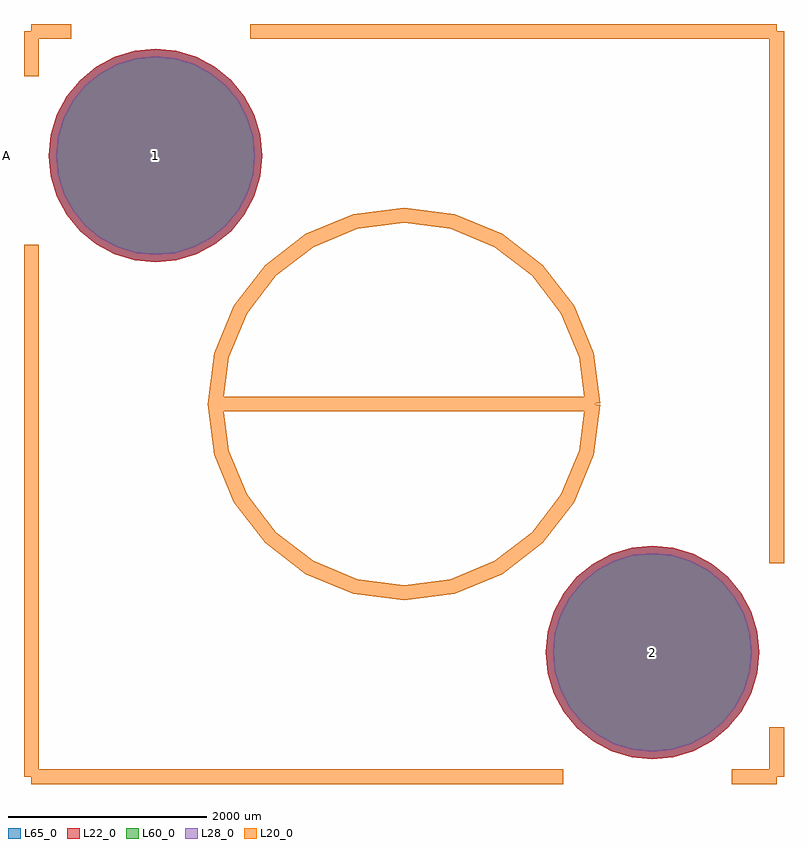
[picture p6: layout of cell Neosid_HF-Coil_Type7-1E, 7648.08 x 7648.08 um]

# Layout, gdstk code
import gdstk
lib = gdstk.Library(unit=1e-6, precision=1e-09)
def P(c, l, *ps):  # polygons
    for p in ps: c.add(gdstk.Polygon(p, *l))
L20_0 = (20, 0)
L22_0 = (22, 0)
L28_0 = (28, 0)
L60_0 = (60, 0)
L65_0 = (65, 0)

neosid_hf_coil_type7_1e = lib.new_cell('Neosid_HF-Coil_Type7-1E')
P(neosid_hf_coil_type7_1e, L22_0, [(3573.85,-2499.36),(3553.204,-2289.737),(3492.059,-2088.17),(3392.766,-1902.405),(3259.139,-1739.581),(3096.315,-1605.954),(2910.55,-1506.661),(2708.983,-1445.516),(2499.36,-1424.87),(2289.737,-1445.516),(2088.17,-1506.661),(1902.405,-1605.954),(1739.581,-1739.581),(1605.954,-1902.405),(1506.661,-2088.17),(1445.516,-2289.737),(1424.87,-2499.36),(1445.516,-2708.983),(1506.661,-2910.55),(1605.954,-3096.315),(1739.581,-3259.139),(1902.405,-3392.766),(2088.17,-3492.059),(2289.737,-3553.204),(2499.36,-3573.85),(2708.983,-3553.204),(2910.55,-3492.059),(3096.315,-3392.766),(3259.139,-3259.139),(3392.766,-3096.315),(3492.059,-2910.55),(3553.204,-2708.983)],
  [(-1424.87,2499.36),(-1445.516,2708.983),(-1506.661,2910.55),(-1605.954,3096.315),(-1739.581,3259.139),(-1902.405,3392.766),(-2088.17,3492.059),(-2289.737,3553.204),(-2499.36,3573.85),(-2708.983,3553.204),(-2910.55,3492.059),(-3096.315,3392.766),(-3259.139,3259.139),(-3392.766,3096.315),(-3492.059,2910.55),(-3553.204,2708.983),(-3573.85,2499.36),(-3553.204,2289.737),(-3492.059,2088.17),(-3392.766,1902.405),(-3259.139,1739.581),(-3096.315,1605.954),(-2910.55,1506.661),(-2708.983,1445.516),(-2499.36,1424.87),(-2289.737,1445.516),(-2088.17,1506.661),(-1902.405,1605.954),(-1739.581,1739.581),(-1605.954,1902.405),(-1506.661,2088.17),(-1445.516,2289.737)])
P(neosid_hf_coil_type7_1e, L28_0, [(3498.85,-2499.36),(3479.645,-2304.369),(3422.768,-2116.872),(3330.406,-1944.073),(3206.106,-1792.614),(3054.647,-1668.314),(2881.848,-1575.952),(2694.351,-1519.075),(2499.36,-1499.87),(2304.369,-1519.075),(2116.872,-1575.952),(1944.073,-1668.314),(1792.614,-1792.614),(1668.314,-1944.073),(1575.952,-2116.872),(1519.075,-2304.369),(1499.87,-2499.36),(1519.075,-2694.351),(1575.952,-2881.848),(1668.314,-3054.647),(1792.614,-3206.106),(1944.073,-3330.406),(2116.872,-3422.768),(2304.369,-3479.645),(2499.36,-3498.85),(2694.351,-3479.645),(2881.848,-3422.768),(3054.647,-3330.406),(3206.106,-3206.106),(3330.406,-3054.647),(3422.768,-2881.848),(3479.645,-2694.351)],
  [(-1499.87,2499.36),(-1519.075,2694.351),(-1575.952,2881.848),(-1668.314,3054.647),(-1792.614,3206.106),(-1944.073,3330.406),(-2116.872,3422.768),(-2304.369,3479.645),(-2499.36,3498.85),(-2694.351,3479.645),(-2881.848,3422.768),(-3054.647,3330.406),(-3206.106,3206.106),(-3330.406,3054.647),(-3422.768,2881.848),(-3479.645,2694.351),(-3498.85,2499.36),(-3479.645,2304.369),(-3422.768,2116.872),(-3330.406,1944.073),(-3206.106,1792.614),(-3054.647,1668.314),(-2881.848,1575.952),(-2694.351,1519.075),(-2499.36,1499.87),(-2304.369,1519.075),(-2116.872,1575.952),(-1944.073,1668.314),(-1792.614,1792.614),(-1668.314,1944.073),(-1575.952,2116.872),(-1519.075,2304.369)])
P(neosid_hf_coil_type7_1e, L60_0, [(3498.85,-2499.36),(3479.645,-2304.369),(3422.768,-2116.872),(3330.406,-1944.073),(3206.106,-1792.614),(3054.647,-1668.314),(2881.848,-1575.952),(2694.351,-1519.075),(2499.36,-1499.87),(2304.369,-1519.075),(2116.872,-1575.952),(1944.073,-1668.314),(1792.614,-1792.614),(1668.314,-1944.073),(1575.952,-2116.872),(1519.075,-2304.369),(1499.87,-2499.36),(1519.075,-2694.351),(1575.952,-2881.848),(1668.314,-3054.647),(1792.614,-3206.106),(1944.073,-3330.406),(2116.872,-3422.768),(2304.369,-3479.645),(2499.36,-3498.85),(2694.351,-3479.645),(2881.848,-3422.768),(3054.647,-3330.406),(3206.106,-3206.106),(3330.406,-3054.647),(3422.768,-2881.848),(3479.645,-2694.351)],
  [(-1499.87,2499.36),(-1519.075,2694.351),(-1575.952,2881.848),(-1668.314,3054.647),(-1792.614,3206.106),(-1944.073,3330.406),(-2116.872,3422.768),(-2304.369,3479.645),(-2499.36,3498.85),(-2694.351,3479.645),(-2881.848,3422.768),(-3054.647,3330.406),(-3206.106,3206.106),(-3330.406,3054.647),(-3422.768,2881.848),(-3479.645,2694.351),(-3498.85,2499.36),(-3479.645,2304.369),(-3422.768,2116.872),(-3330.406,1944.073),(-3206.106,1792.614),(-3054.647,1668.314),(-2881.848,1575.952),(-2694.351,1519.075),(-2499.36,1499.87),(-2304.369,1519.075),(-2116.872,1575.952),(-1944.073,1668.314),(-1792.614,1792.614),(-1668.314,1944.073),(-1575.952,2116.872),(-1519.075,2304.369)])
P(neosid_hf_coil_type7_1e, L65_0, [(3573.85,-2499.36),(3553.204,-2289.737),(3492.059,-2088.17),(3392.766,-1902.405),(3259.139,-1739.581),(3096.315,-1605.954),(2910.55,-1506.661),(2708.983,-1445.516),(2499.36,-1424.87),(2289.737,-1445.516),(2088.17,-1506.661),(1902.405,-1605.954),(1739.581,-1739.581),(1605.954,-1902.405),(1506.661,-2088.17),(1445.516,-2289.737),(1424.87,-2499.36),(1445.516,-2708.983),(1506.661,-2910.55),(1605.954,-3096.315),(1739.581,-3259.139),(1902.405,-3392.766),(2088.17,-3492.059),(2289.737,-3553.204),(2499.36,-3573.85),(2708.983,-3553.204),(2910.55,-3492.059),(3096.315,-3392.766),(3259.139,-3259.139),(3392.766,-3096.315),(3492.059,-2910.55),(3553.204,-2708.983)],
  [(-1424.87,2499.36),(-1445.516,2708.983),(-1506.661,2910.55),(-1605.954,3096.315),(-1739.581,3259.139),(-1902.405,3392.766),(-2088.17,3492.059),(-2289.737,3553.204),(-2499.36,3573.85),(-2708.983,3553.204),(-2910.55,3492.059),(-3096.315,3392.766),(-3259.139,3259.139),(-3392.766,3096.315),(-3492.059,2910.55),(-3553.204,2708.983),(-3573.85,2499.36),(-3553.204,2289.737),(-3492.059,2088.17),(-3392.766,1902.405),(-3259.139,1739.581),(-3096.315,1605.954),(-2910.55,1506.661),(-2708.983,1445.516),(-2499.36,1424.87),(-2289.737,1445.516),(-2088.17,1506.661),(-1902.405,1605.954),(-1739.581,1739.581),(-1605.954,1902.405),(-1506.661,2088.17),(-1445.516,2289.737)])
neosid_hf_coil_type7_1e.add(gdstk.FlexPath([(3749.04,3749.04),(-1549.4,3749.04)], 149.998, ends="flush", simple_path=True, layer=20, datatype=0))  # L20_0
neosid_hf_coil_type7_1e.add(gdstk.FlexPath([(3749.04,3749.04),(3749.04,-1600.2)], 149.998, ends="flush", simple_path=True, layer=20, datatype=0))  # L20_0
neosid_hf_coil_type7_1e.add(gdstk.FlexPath([(3749.04,-3749.04),(3749.04,-3251.2)], 149.998, ends="flush", simple_path=True, layer=20, datatype=0))  # L20_0
neosid_hf_coil_type7_1e.add(gdstk.FlexPath([(3749.04,-3749.04),(3299.46,-3749.04)], 149.998, ends="flush", simple_path=True, layer=20, datatype=0))  # L20_0
neosid_hf_coil_type7_1e.add(gdstk.FlexPath([(-3749.04,-3749.04),(-3749.04,1600.2)], 149.998, ends="flush", simple_path=True, layer=20, datatype=0))  # L20_0
neosid_hf_coil_type7_1e.add(gdstk.FlexPath([(-3749.04,-3749.04),(1600.2,-3749.04)], 149.998, ends="flush", simple_path=True, layer=20, datatype=0))  # L20_0
neosid_hf_coil_type7_1e.add(gdstk.FlexPath([(-3749.04,3749.04),(-3350.26,3749.04)], 149.998, ends="flush", simple_path=True, layer=20, datatype=0))  # L20_0
neosid_hf_coil_type7_1e.add(gdstk.FlexPath([(-3749.04,3749.04),(-3749.04,3299.46)], 149.998, ends="flush", simple_path=True, layer=20, datatype=0))  # L20_0
neosid_hf_coil_type7_1e.add(gdstk.FlexPath([(1899.92,0),(1835.182,491.735),(1645.379,949.96),(1343.446,1343.446),(949.96,1645.379),(491.735,1835.182),(0,1899.92),(-491.735,1835.182),(-949.96,1645.379),(-1343.446,1343.446),(-1645.379,949.96),(-1835.182,491.735),(-1899.92,0),(-1835.182,-491.735),(-1645.379,-949.96),(-1343.446,-1343.446),(-949.96,-1645.379),(-491.735,-1835.182),(0,-1899.92),(491.735,-1835.182),(949.96,-1645.379),(1343.446,-1343.446),(1645.379,-949.96),(1835.182,-491.735),(1899.92,0)], 149.998, ends="flush", simple_path=True, layer=20, datatype=0))  # L20_0
neosid_hf_coil_type7_1e.add(gdstk.FlexPath([(-1899.92,0),(1899.92,0)], 149.998, ends="flush", simple_path=True, layer=20, datatype=0))  # L20_0
neosid_hf_coil_type7_1e.add(gdstk.Label('2', (2499.36,-2499.36), layer=28, texttype=0))
neosid_hf_coil_type7_1e.add(gdstk.Label('1', (-2499.36,2499.36), layer=28, texttype=0))
neosid_hf_coil_type7_1e.add(gdstk.Label('A', (-4048.76,2499.36), layer=9, texttype=0))
neosid_hf_coil_type7_1e.add(gdstk.Label('E', (4150.36,-2451.1), layer=9, texttype=0))
neosid_hf_coil_type7_1e.add(gdstk.Label('type', (-99.06,-5648.96), layer=9, texttype=0))
neosid_hf_coil_type7_1e.add(gdstk.Label('devicename', (0,5450.84), layer=9, texttype=0))

lib.write_gds('Neosid_HF-Coil_Type7-1E.gds')
